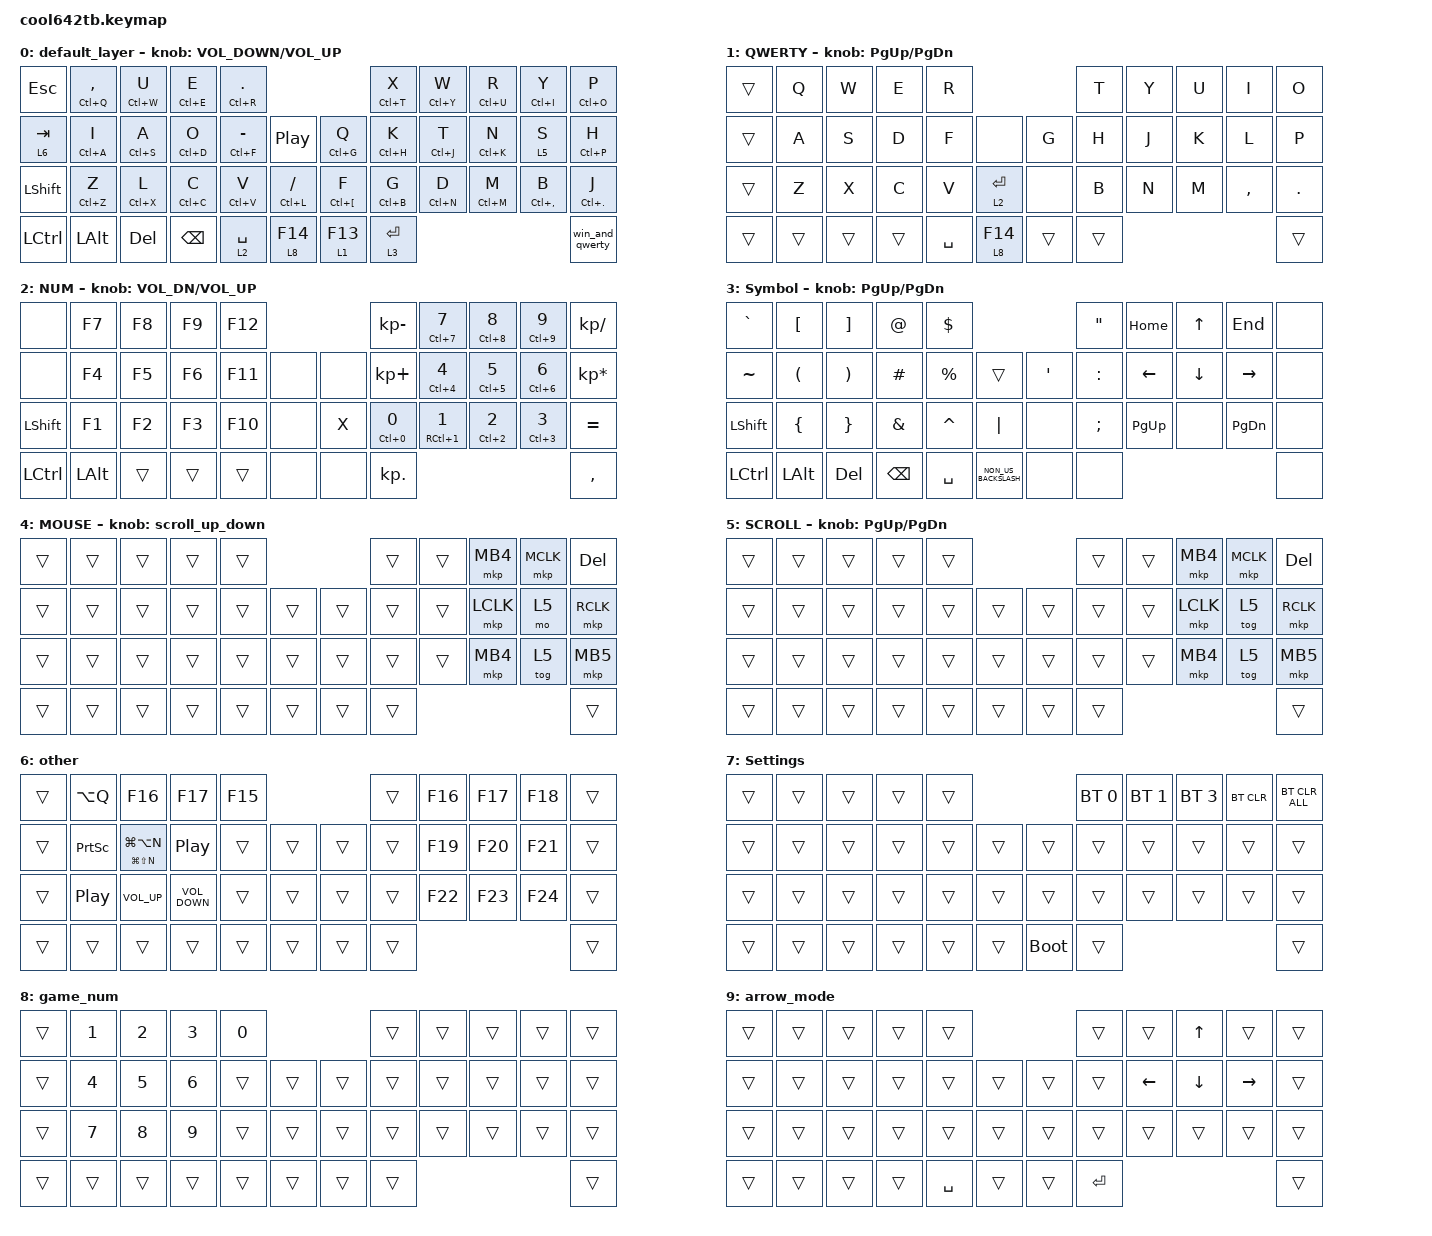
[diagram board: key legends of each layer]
#include <input/processors.dtsi>
#include <dt-bindings/zmk/mouse.h>
#include <behaviors.dtsi>
#include <dt-bindings/zmk/bt.h>
#include <dt-bindings/zmk/keys.h>
#include <dt-bindings/zmk/pointing.h>

#define ZMK_MOUSE_DEFAULT_SCRL_VAL 100
#define MOUSE 4
#define SCROLL 5
#define NUM 6

&mt {
    flavor = "balanced";
    quick-tap-ms = <0>;
};

/ {
    chosen {
        zmk,mouse-sensitivities = <100 200>; // X軸100%, Y軸200%
        zmk,input-processor-report-rate-limit = <100>;
    };

    combos {
        compatible = "zmk,combos";

        hatena {
            bindings = <&kp LS(QUESTION)>;
            key-positions = <30 31>;
        };

        bootloader {
            bindings = <&bootloader>;
            key-positions = <39 40 38 41>;
        };

        bikkuri {
            bindings = <&kp EXCLAMATION>;
            key-positions = <25 24>;
        };

        Setting_layer {
            bindings = <&mo 7>;
            key-positions = <11 12 10>;
        };

        santen_ri-da {
            bindings = <&santen_ridan>;
            key-positions = <14 13>;
        };

        codeblock {
            bindings = <&codeblock>;
            key-positions = <1 2>;
        };

        keypirinha {
            bindings = <&kp F16>;
            key-positions = <34 38>;
        };
    };

    macros {
        ctrl_layer: ctrl_layer {
            compatible = "zmk,behavior-macro";
            #binding-cells = <0>;
            bindings = <&sk LCTRL &sl 0>;
            label = "CTRL_LAYER";
        };

        tap_only: tap_only {
            compatible = "zmk,behavior-macro-one-param";
            #binding-cells = <1>;
            bindings = <&macro_param_1to1 &kp MACRO_PLACEHOLDER>;
            label = "TAP_ONLY";
        };

        santen_ridan: santen_ridan {
            compatible = "zmk,behavior-macro";
            #binding-cells = <0>;
            bindings = <&kp FSLH &kp FSLH &kp FSLH>;
            label = "SANTEN_RIDAN";
        };

        codeblock: codeblock {
            compatible = "zmk,behavior-macro";
            #binding-cells = <0>;
            bindings = <&kp GRAVE &kp GRAVE &kp GRAVE>;
            label = "CODEBLOCK";
        };
    };

    behaviors {
        scroll_up_down: behavior_sensor_rotate_up_down {
            compatible = "zmk,behavior-sensor-rotate";
            #sensor-binding-cells = <0>;
            bindings = <&kp UP_ARROW>, <&kp DOWN_ARROW>;

            tap-ms = <40>;
            label = "behavior_sensor_rotate_up_down";
        };

        win_and_qwerty: win_and_qwerty {
            compatible = "zmk,behavior-tap-dance";
            label = "WIN_AND_QWERTY";
            #binding-cells = <0>;
            bindings = <&kp LWIN>, <&tog 1>, <&tog 9>;
        };

        mt_hs: mt_hs {
            compatible = "zmk,behavior-hold-tap";
            label = "MT_HS";
            bindings = <&tap_only>, <&kp>;

            #binding-cells = <2>;
            tapping-term-ms = <500>;
            flavor = "tap-preferred";
        };
    };

    keymap {
        compatible = "zmk,keymap";

        default_layer {
            bindings = <
&kp ESC         &mt_hs LC(Q) COMMA  &mt_hs LC(W) U  &mt_hs LC(E) E  &mt_hs LC(R) DOT                                                   &mt_hs LC(T) X  &mt_hs LC(Y) W  &mt_hs LC(U) R  &mt_hs LC(I) Y      &mt_hs LC(O) P
&lt 6 TAB       &mt_hs LC(A) I      &mt_hs LC(S) A  &mt_hs LC(D) O  &mt_hs LC(F) MINUS  &kp C_PLAY_PAUSE    &mt_hs LC(G) Q             &mt_hs LC(H) K  &mt_hs LC(J) T  &mt_hs LC(K) N  &lt 5 S             &mt_hs LC(P) H
&kp LEFT_SHIFT  &mt_hs LC(Z) Z      &mt_hs LC(X) L  &mt_hs LC(C) C  &mt_hs LC(V) V      &mt_hs LC(L) SLASH  &mt_hs LC(LEFT_BRACKET) F  &mt_hs LC(B) G  &mt_hs LC(N) D  &mt_hs LC(M) M  &mt_hs LC(COMMA) B  &mt_hs LC(DOT) J
&kp LCTRL       &kp LALT            &kp DELETE      &kp BACKSPACE   &lt 2 SPACE         &lt 8 F14           &lt 1 F13                  &lt 3 ENTER                                                         &win_and_qwerty
            >;

            sensor-bindings = <&inc_dec_kp C_VOLUME_DOWN C_VOL_UP>;
        };

        QWERTY {
            bindings = <
&trans  &kp Q   &kp W   &kp E   &kp R                           &kp T   &kp Y  &kp U  &kp I      &kp O
&trans  &kp A   &kp S   &kp D   &kp F      &none        &kp G   &kp H   &kp J  &kp K  &kp L      &kp P
&trans  &kp Z   &kp X   &kp C   &kp V      &lt 2 ENTER  &none   &kp B   &kp N  &kp M  &kp COMMA  &kp PERIOD
&trans  &trans  &trans  &trans  &kp SPACE  &lt 8 F14    &trans  &trans                           &trans
            >;

            sensor-bindings = <&inc_dec_kp PG_UP PAGE_DOWN>;
        };

        NUM {
            bindings = <
&none      &kp F7    &kp F8  &kp F9  &kp F12                &kp KP_MINUS      &mt_hs LC(N7) N7              &mt_hs LC(N8) N8              &mt_hs LC(N9) N9              &kp KP_DIVIDE
&none      &kp F4    &kp F5  &kp F6  &kp F11  &none  &none  &kp KP_PLUS       &mt_hs LC(NUMBER_4) NUMBER_4  &mt_hs LC(N5) N5              &mt_hs LC(NUMBER_6) NUMBER_6  &kp KP_MULTIPLY
&kp LSHFT  &kp F1    &kp F2  &kp F3  &kp F10  &none  &kp X  &mt_hs LC(N0) N0  &mt_hs RC(NUMBER_1) NUMBER_1  &mt_hs LC(NUMBER_2) NUMBER_2  &mt_hs LC(NUMBER_3) NUMBER_3  &kp EQUAL
&kp LCTRL  &kp LALT  &trans  &trans  &trans   &none  &none  &kp KP_DOT                                                                                                  &kp COMMA
            >;

            sensor-bindings = <&inc_dec_kp C_VOL_DN C_VOL_UP>;
        };

        Symbol {
            bindings = <
&kp GRAVE       &kp LEFT_BRACKET      &kp RIGHT_BRACKET      &kp AT_SIGN    &kp DOLLAR                                           &kp DOUBLE_QUOTES  &kp HOME        &kp UP_ARROW    &kp END        &none
&kp TILDE       &kp LEFT_PARENTHESIS  &kp RIGHT_PARENTHESIS  &kp HASH       &kp PERCENT  &trans                &kp SINGLE_QUOTE  &kp COLON          &kp LEFT_ARROW  &kp DOWN_ARROW  &kp RIGHT      &none
&kp LEFT_SHIFT  &kp LEFT_BRACE        &kp RIGHT_BRACE        &kp AMPERSAND  &kp CARET    &kp PIPE              &none             &kp SEMI           &kp PAGE_UP     &none           &kp PAGE_DOWN  &none
&kp LCTRL       &kp LEFT_ALT          &kp DELETE             &kp BACKSPACE  &kp SPACE    &kp NON_US_BACKSLASH  &none             &none                                                             &none
            >;

            sensor-bindings = <&inc_dec_kp PG_UP PAGE_DOWN>;
        };

        MOUSE {
            bindings = <
&trans  &trans  &trans  &trans  &trans                  &trans  &trans  &mkp MB4   &mkp MCLK  &kp DEL
&trans  &trans  &trans  &trans  &trans  &trans  &trans  &trans  &trans  &mkp LCLK  &mo 5      &mkp RCLK
&trans  &trans  &trans  &trans  &trans  &trans  &trans  &trans  &trans  &mkp MB4   &tog 5     &mkp MB5
&trans  &trans  &trans  &trans  &trans  &trans  &trans  &trans                                &trans
            >;

            sensor-bindings = <&scroll_up_down>;
        };

        SCROLL {
            bindings = <
&trans  &trans  &trans  &trans  &trans                  &trans  &trans  &mkp MB4   &mkp MCLK  &kp DEL
&trans  &trans  &trans  &trans  &trans  &trans  &trans  &trans  &trans  &mkp LCLK  &tog 5     &mkp RCLK
&trans  &trans  &trans  &trans  &trans  &trans  &trans  &trans  &trans  &mkp MB4   &tog 5     &mkp MB5
&trans  &trans  &trans  &trans  &trans  &trans  &trans  &trans                                &trans
            >;

            sensor-bindings = <&inc_dec_kp PG_UP PAGE_DOWN>;
        };

        other {
            bindings = <
&trans  &kp LA(Q)        &kp F16                     &kp F17              &kp F15                  &trans  &kp F16  &kp F17  &kp F18  &trans
&trans  &kp PRINTSCREEN  &mt_hs LG(LS(N)) LG(LA(N))  &kp C_PP             &trans   &trans  &trans  &trans  &kp F19  &kp F20  &kp F21  &trans
&trans  &kp C_PP         &kp C_VOLUME_UP             &kp C_VOLUME_DOWN    &trans   &trans  &trans  &trans  &kp F22  &kp F23  &kp F24  &trans
&trans  &trans           &trans                      &trans               &trans   &trans  &trans  &trans                             &trans
            >;
        };

        Settings {
            bindings = <
&trans  &trans  &trans  &trans  &trans                       &bt BT_SEL 0  &bt BT_SEL 1  &bt BT_SEL 3  &bt BT_CLR  &bt BT_CLR_ALL
&trans  &trans  &trans  &trans  &trans  &trans  &trans       &trans        &trans        &trans        &trans      &trans
&trans  &trans  &trans  &trans  &trans  &trans  &trans       &trans        &trans        &trans        &trans      &trans
&trans  &trans  &trans  &trans  &trans  &trans  &bootloader  &trans                                                &trans
            >;
        };

        game_num {
            bindings = <
&trans  &kp N1  &kp N2  &kp N3  &kp N0                  &trans  &trans  &trans  &trans  &trans
&trans  &kp N4  &kp N5  &kp N6  &trans  &trans  &trans  &trans  &trans  &trans  &trans  &trans
&trans  &kp N7  &kp N8  &kp N9  &trans  &trans  &trans  &trans  &trans  &trans  &trans  &trans
&trans  &trans  &trans  &trans  &trans  &trans  &trans  &trans                          &trans
            >;
        };

        arrow_mode {
            bindings = <
&trans  &trans  &trans  &trans  &trans                     &trans      &trans          &kp UP_ARROW    &trans           &trans
&trans  &trans  &trans  &trans  &trans     &trans  &trans  &trans      &kp LEFT_ARROW  &kp DOWN_ARROW  &kp RIGHT_ARROW  &trans
&trans  &trans  &trans  &trans  &trans     &trans  &trans  &trans      &trans          &trans          &trans           &trans
&trans  &trans  &trans  &trans  &kp SPACE  &trans  &trans  &kp RETURN                                                   &trans
            >;
        };
    };
};
